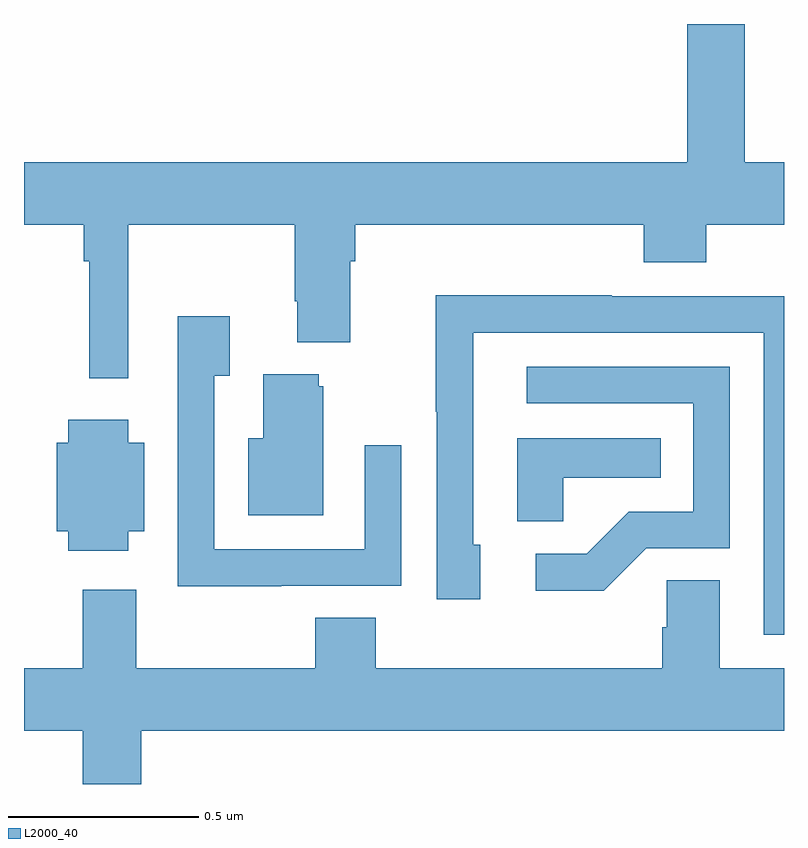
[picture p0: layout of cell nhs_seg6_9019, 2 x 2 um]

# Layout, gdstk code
import gdstk
lib = gdstk.Library(unit=1e-6, precision=1e-09)
def P(c, l, *ps):  # polygons
    for p in ps: c.add(gdstk.Polygon(p, *l))
L2000_40 = (2000, 40)

nhs_seg6_9019 = lib.new_cell('nhs_seg6_9019')
P(nhs_seg6_9019, L2000_40, [(228.274,977.972),(228.712,977.972),(228.712,977.77),(228.719,977.77),(228.719,977.663),(228.859,977.663),(228.859,977.876),(228.872,977.876),(228.872,977.972),(229.631,977.972),(229.631,977.873),(229.796,977.873),(229.796,977.972),(230,977.972),(230,978.136),(229.897,978.136),(229.897,978.5),(229.745,978.5),(229.745,978.136),(228,978.136),(228,977.972),(228.157,977.972),(228.157,977.876),(228.172,977.876),(228.172,977.568),(228.274,977.568)],
  [(230,977.784),(229.547,977.784),(229.547,977.786),(229.084,977.786),(229.084,977.479),(229.086,977.479),(229.086,976.986),(229.201,976.986),(229.201,977.13),(229.182,977.13),(229.182,977.688),(229.947,977.688),(229.947,976.893),(230,976.893)],
  [(228.677,977.022),(228.993,977.022),(228.993,977.392),(228.897,977.392),(228.897,977.118),(228.501,977.118),(228.501,977.575),(228.541,977.575),(228.541,977.731),(228.404,977.731),(228.404,977.494),(228.405,977.494),(228.405,977.021),(228.677,977.021)],
  [(229.638,977.121),(229.857,977.121),(229.857,977.598),(229.323,977.598),(229.323,977.502),(229.761,977.502),(229.761,977.217),(229.592,977.217),(229.481,977.106),(229.347,977.106),(229.347,977.009),(229.525,977.009)],
  [(228.787,977.547),(228.776,977.547),(228.776,977.578),(228.629,977.578),(228.629,977.41),(228.59,977.41),(228.59,977.207),(228.787,977.207)],
  [(228.274,977.165),(228.316,977.165),(228.316,977.398),(228.274,977.398),(228.274,977.458),(228.116,977.458),(228.116,977.398),(228.086,977.398),(228.086,977.165),(228.116,977.165),(228.116,977.114),(228.274,977.114)],
  [(229.419,977.306),(229.676,977.306),(229.676,977.41),(229.298,977.41),(229.298,977.191),(229.419,977.191)],
  [(228.308,976.64),(230,976.64),(230,976.804),(229.831,976.804),(229.831,977.036),(229.692,977.036),(229.692,976.913),(229.679,976.913),(229.679,976.804),(228.926,976.804),(228.926,976.937),(228.766,976.937),(228.766,976.804),(228.295,976.804),(228.295,977.011),(228.155,977.011),(228.155,976.804),(228,976.804),(228,976.64),(228.155,976.64),(228.155,976.5),(228.308,976.5)])

lib.write_gds('nhs_seg6_9019.gds')
